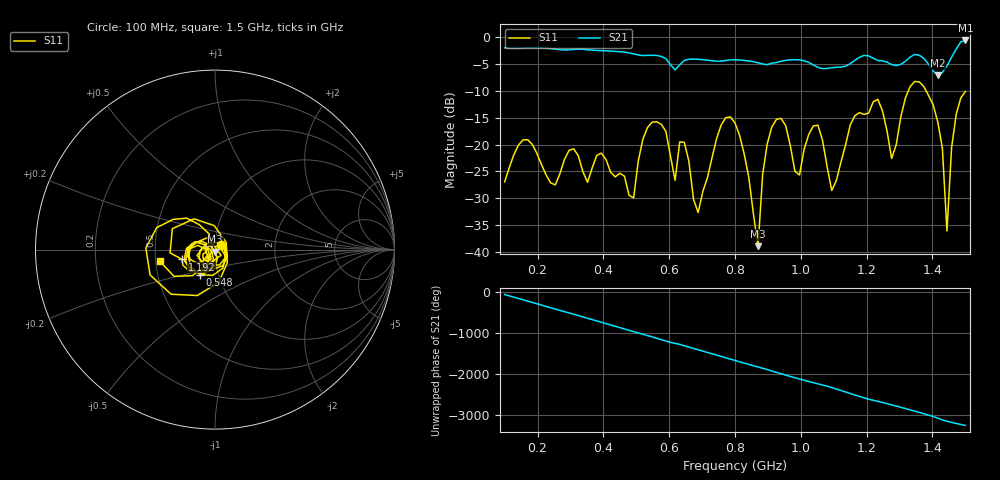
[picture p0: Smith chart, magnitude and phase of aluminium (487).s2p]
! NanoVNA-App
! Date: 2025-09-25 14:59:04
! Start: 100MHz Stop: 1,5GHz Points: 101
! S-Parameter data: F S11 S21 S12 S22
# Hz S RI R 50
!  Frequency  S11_Real  S11_Imag  S21_Real  S21_Imag  S12_Real  S12_Imag  S22_Real  S22_Imag
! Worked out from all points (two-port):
!   101 points, 100 MHz to 1.5 GHz, reference 50 ohm
!   highest |S21| = -0.55 dB at 1.5 GHz (marker M1); lowest = -7.1 dB at 1.416 GHz (marker M2)
!   |S21| within 3 dB of the highest: start of sweep to 576.5 MHz; 1.459 GHz to end of sweep (the widest 2 of 4)
!   lowest |S11| = -39.0 dB at 870 MHz (marker M3), VSWR 1.02, Z = 50.1 - j1.12 ohm
!   |S11| at or under -10 dB: start of sweep to 1.326 GHz; 1.381 GHz to end of sweep
!   S12 and S22 are empty: the file has one direction only
!   S11 on the Smith chart (normalised r, x): 100 MHz: 1.07, +0.06; 548 MHz: 0.82, -0.23; 1.192 GHz: 0.69, -0.08; 1.5 GHz: 0.53, -0.08
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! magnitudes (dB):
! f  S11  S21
! 100 MHz  -27.0  -1.9
! 156 MHz  -19.1  -2.0
! 338 MHz  -25.1  -2.2
! 492 MHz  -29.9  -3.1
! 548 MHz  -15.8  -3.3
! 576 MHz  -16.2  -3.5
! 618 MHz  -26.7  -6.1
! 646 MHz  -19.6  -4.3
! 688 MHz  -32.7  -4.1
! 800 MHz  -16.0  -4.2
! 870 MHz  -39.0  -4.7
! 912 MHz  -16.7  -4.8
! 996 MHz  -25.7  -4.2
! 1.038 GHz  -16.5  -5.1
! 1.094 GHz  -28.6  -5.7
! 1.192 GHz  -14.3  -3.3
! 1.276 GHz  -22.6  -5.1
! 1.346 GHz  -8.2  -3.2
! 1.416 GHz  -15.7  -7.1
! 1.444 GHz  -36.1  -5.3
! 1.458 GHz  -20.6  -3.7
! 1.5 GHz  -10.1  -0.6
